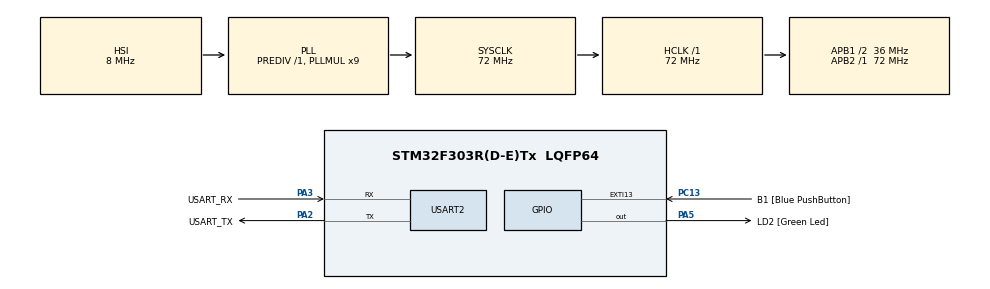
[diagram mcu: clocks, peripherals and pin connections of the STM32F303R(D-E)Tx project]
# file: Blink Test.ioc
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Mcu.Family=STM32F3
Mcu.Name=STM32F303R(D-E)Tx
Mcu.Package=LQFP64
NVIC.EXTI15_10_IRQn=true\:0\:0\:false\:false\:true\:true\:true\:true
NVIC.PriorityGroup=NVIC_PRIORITYGROUP_0
NVIC.TIM2_IRQn=true\:0\:0\:false\:false\:true\:true\:true\:true
PA13.GPIO_Label=TMS
PA13.Mode=Serial_Wire
PA13.Signal=SYS_JTMS-SWDIO
PA14.GPIO_Label=TCK
PA14.Mode=Serial_Wire
PA14.Signal=SYS_JTCK-SWCLK
PA2.GPIO_Label=USART_TX
PA2.GPIO_Mode=GPIO_MODE_AF_PP
PA2.GPIO_PuPd=GPIO_NOPULL
PA2.GPIO_Speed=GPIO_SPEED_FREQ_LOW
PA2.Mode=Asynchronous
PA2.Signal=USART2_TX
PA3.GPIO_Label=USART_RX
PA3.GPIO_Mode=GPIO_MODE_AF_PP
PA3.GPIO_PuPd=GPIO_NOPULL
PA3.GPIO_Speed=GPIO_SPEED_FREQ_LOW
PA3.Mode=Asynchronous
PA3.Signal=USART2_RX
PA5.GPIO_Label=LD2 [Green Led]
PA5.GPIO_Mode=GPIO_MODE_OUTPUT_PP
PA5.GPIO_PuPd=GPIO_NOPULL
PA5.GPIO_Speed=GPIO_SPEED_FREQ_LOW
PA5.Signal=GPIO_Output
PB3.GPIO_Label=SWO
PB3.Signal=SYS_JTDO-TRACESWO
PC13.GPIO_Label=B1 [Blue PushButton]
PC13.GPIO_ModeDefaultEXTI=GPIO_MODE_IT_RISING_FALLING
PC13.Signal=GPXTI13
PC14-OSC32_IN.Mode=LSE-External-Oscillator
PC14-OSC32_IN.Signal=RCC_OSC32_IN
PC15-OSC32_OUT.Mode=LSE-External-Oscillator
PC15-OSC32_OUT.Signal=RCC_OSC32_OUT
PF0-OSC_IN.Mode=HSE-External-Clock-Source
PF0-OSC_IN.Signal=RCC_OSC_IN
PF1-OSC_OUT.Signal=RCC_OSC_OUT
ProjectManager.HeapSize=0x200
ProjectManager.StackSize=0x400
ProjectManager.TargetToolchain=STM32CubeIDE
RCC.AHBFreq_Value=72000000
RCC.APB1CLKDivider=RCC_HCLK_DIV2
RCC.APB1Freq_Value=36000000
RCC.APB1TimFreq_Value=72000000
RCC.APB2Freq_Value=72000000
RCC.APB2TimFreq_Value=72000000
RCC.CortexFreq_Value=72000000
RCC.HCLKFreq_Value=72000000
RCC.HSE_VALUE=8000000
RCC.HSI_VALUE=8000000
RCC.PLLM=8
RCC.PLLMUL=RCC_PLL_MUL9
RCC.PLLN=336
RCC.PLLP=RCC_PLLP_DIV4
RCC.PLLQ=7
RCC.RCC_PLLsource_Clock_Source_FROM_HSE=RCC_HSE_PREDIV_DIV2
RCC.SYSCLKFreq_VALUE=72000000
RCC.SYSCLKSourceVirtual=RCC_SYSCLKSOURCE_PLLCLK
RCC.USBFreq_Value=72000000
TIM2.Period=999
TIM2.Prescaler=35999
USART2.VirtualMode-Asynchronous=VM_ASYNC
VP_TIM2_VS_ClockSourceINT.Mode=Internal
board=NUCLEO-F303RE

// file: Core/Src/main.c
/* USER CODE BEGIN Header */
/**
  ******************************************************************************
  * @file           : main.c
  * @brief          : Main program body
  ******************************************************************************
  * @attention
  *
  * Copyright (c) 2026 STMicroelectronics.
  * All rights reserved.
  *
  * This software is licensed under terms that can be found in the LICENSE file
  * in the root directory of this software component.
  * If no LICENSE file comes with this software, it is provided AS-IS.
  *
  ******************************************************************************
  */
/* USER CODE END Header */
#include "main.h"

TIM_HandleTypeDef htim2;

UART_HandleTypeDef huart2;

void SystemClock_Config(void);
static void MX_GPIO_Init(void);
static void MX_USART2_UART_Init(void);
static void MX_TIM2_Init(void);

/* USER CODE BEGIN 0 */
volatile uint8_t blink_active_flag = 0;
volatile uint32_t last_actuation_time = 0;
volatile uint8_t prev_button_state = 0;

void HAL_TIM_PeriodElapsedCallback(TIM_HandleTypeDef *htim) {
	if (htim->Instance == TIM2) {
		if (blink_active_flag) {
		  	HAL_GPIO_TogglePin(GPIOA, GPIO_PIN_5);
		}
	}
}

void HAL_GPIO_EXTI_Callback(uint16_t GPIO_Pin) {
	if (GPIO_Pin == GPIO_PIN_13) {
		uint32_t current_time = HAL_GetTick();

		if ((current_time - last_actuation_time) > 10) {
			last_actuation_time = current_time;
			if (prev_button_state == 0) {
				blink_active_flag ^= 1;
				prev_button_state = 1;
			} else {
				prev_button_state = 0;
			}
		}
	}
}

/* USER CODE END 0 */

int main(void)
{

  /* MCU Configuration--------------------------------------------------------*/

  /* Reset of all peripherals, Initializes the Flash interface and the Systick. */
  HAL_Init();

  /* Configure the system clock */
  SystemClock_Config();

  /* Initialize all configured peripherals */
  MX_GPIO_Init();
  MX_USART2_UART_Init();
  MX_TIM2_Init();

  /* Infinite loop */
  /* USER CODE BEGIN WHILE */

  HAL_TIM_Base_Start_IT(&htim2);

  while (1)
  {
    /* USER CODE END WHILE */

  }
}

void SystemClock_Config(void)
{
  RCC_OscInitTypeDef RCC_OscInitStruct = {0};
  RCC_ClkInitTypeDef RCC_ClkInitStruct = {0};
  RCC_PeriphCLKInitTypeDef PeriphClkInit = {0};

  /** Initializes the RCC Oscillators according to the specified parameters
  * in the RCC_OscInitTypeDef structure.
  */
  RCC_OscInitStruct.OscillatorType = RCC_OSCILLATORTYPE_HSI;
  RCC_OscInitStruct.HSIState = RCC_HSI_ON;
  RCC_OscInitStruct.HSICalibrationValue = RCC_HSICALIBRATION_DEFAULT;
  RCC_OscInitStruct.PLL.PLLState = RCC_PLL_ON;
  RCC_OscInitStruct.PLL.PLLSource = RCC_PLLSOURCE_HSI;
  RCC_OscInitStruct.PLL.PLLMUL = RCC_PLL_MUL9;
  RCC_OscInitStruct.PLL.PREDIV = RCC_PREDIV_DIV1;
  if (HAL_RCC_OscConfig(&RCC_OscInitStruct) != HAL_OK)
  {
    Error_Handler();
  }

  /** Initializes the CPU, AHB and APB buses clocks
  */
  RCC_ClkInitStruct.ClockType = RCC_CLOCKTYPE_HCLK|RCC_CLOCKTYPE_SYSCLK
                              |RCC_CLOCKTYPE_PCLK1|RCC_CLOCKTYPE_PCLK2;
  RCC_ClkInitStruct.SYSCLKSource = RCC_SYSCLKSOURCE_PLLCLK;
  RCC_ClkInitStruct.AHBCLKDivider = RCC_SYSCLK_DIV1;
  RCC_ClkInitStruct.APB1CLKDivider = RCC_HCLK_DIV2;
  RCC_ClkInitStruct.APB2CLKDivider = RCC_HCLK_DIV1;

  if (HAL_RCC_ClockConfig(&RCC_ClkInitStruct, FLASH_LATENCY_2) != HAL_OK)
  {
    Error_Handler();
  }
  PeriphClkInit.PeriphClockSelection = RCC_PERIPHCLK_USART2|RCC_PERIPHCLK_TIM2;
  PeriphClkInit.Usart2ClockSelection = RCC_USART2CLKSOURCE_PCLK1;
  PeriphClkInit.Tim2ClockSelection = RCC_TIM2CLK_HCLK;
  if (HAL_RCCEx_PeriphCLKConfig(&PeriphClkInit) != HAL_OK)
  {
    Error_Handler();
  }
}

static void MX_TIM2_Init(void)
{

  TIM_ClockConfigTypeDef sClockSourceConfig = {0};
  TIM_MasterConfigTypeDef sMasterConfig = {0};

  htim2.Instance = TIM2;
  htim2.Init.Prescaler = 35999;
  htim2.Init.CounterMode = TIM_COUNTERMODE_UP;
  htim2.Init.Period = 999;
  htim2.Init.ClockDivision = TIM_CLOCKDIVISION_DIV1;
  htim2.Init.AutoReloadPreload = TIM_AUTORELOAD_PRELOAD_DISABLE;
  if (HAL_TIM_Base_Init(&htim2) != HAL_OK)
  {
    Error_Handler();
  }
  sClockSourceConfig.ClockSource = TIM_CLOCKSOURCE_INTERNAL;
  if (HAL_TIM_ConfigClockSource(&htim2, &sClockSourceConfig) != HAL_OK)
  {
    Error_Handler();
  }
  sMasterConfig.MasterOutputTrigger = TIM_TRGO_RESET;
  sMasterConfig.MasterSlaveMode = TIM_MASTERSLAVEMODE_DISABLE;
  if (HAL_TIMEx_MasterConfigSynchronization(&htim2, &sMasterConfig) != HAL_OK)
  {
    Error_Handler();
  }

}

static void MX_USART2_UART_Init(void)
{

  huart2.Instance = USART2;
  huart2.Init.BaudRate = 38400;
  huart2.Init.WordLength = UART_WORDLENGTH_8B;
  huart2.Init.StopBits = UART_STOPBITS_1;
  huart2.Init.Parity = UART_PARITY_NONE;
  huart2.Init.Mode = UART_MODE_TX_RX;
  huart2.Init.HwFlowCtl = UART_HWCONTROL_NONE;
  huart2.Init.OverSampling = UART_OVERSAMPLING_16;
  huart2.Init.OneBitSampling = UART_ONE_BIT_SAMPLE_DISABLE;
  huart2.AdvancedInit.AdvFeatureInit = UART_ADVFEATURE_NO_INIT;
  if (HAL_UART_Init(&huart2) != HAL_OK)
  {
    Error_Handler();
  }

}

static void MX_GPIO_Init(void)
{
  GPIO_InitTypeDef GPIO_InitStruct = {0};

  /* GPIO Ports Clock Enable */
  __HAL_RCC_GPIOC_CLK_ENABLE();
  __HAL_RCC_GPIOF_CLK_ENABLE();
  __HAL_RCC_GPIOA_CLK_ENABLE();
  __HAL_RCC_GPIOB_CLK_ENABLE();

  /*Configure GPIO pin Output Level */
  HAL_GPIO_WritePin(LD2_GPIO_Port, LD2_Pin, GPIO_PIN_RESET);

  /*Configure GPIO pin : B1_Pin */
  GPIO_InitStruct.Pin = B1_Pin;
  GPIO_InitStruct.Mode = GPIO_MODE_IT_RISING_FALLING;
  GPIO_InitStruct.Pull = GPIO_NOPULL;
  HAL_GPIO_Init(B1_GPIO_Port, &GPIO_InitStruct);

  /*Configure GPIO pin : LD2_Pin */
  GPIO_InitStruct.Pin = LD2_Pin;
  GPIO_InitStruct.Mode = GPIO_MODE_OUTPUT_PP;
  GPIO_InitStruct.Pull = GPIO_NOPULL;
  GPIO_InitStruct.Speed = GPIO_SPEED_FREQ_LOW;
  HAL_GPIO_Init(LD2_GPIO_Port, &GPIO_InitStruct);

  /* EXTI interrupt init*/
  HAL_NVIC_SetPriority(EXTI15_10_IRQn, 0, 0);
  HAL_NVIC_EnableIRQ(EXTI15_10_IRQn);

}

void Error_Handler(void)
{
  __disable_irq();
  while (1)
  {
  }
}
